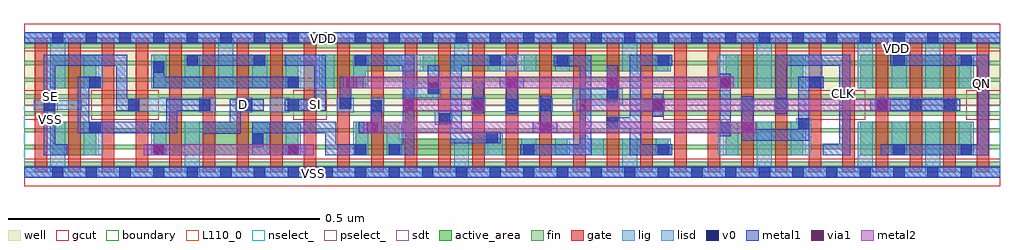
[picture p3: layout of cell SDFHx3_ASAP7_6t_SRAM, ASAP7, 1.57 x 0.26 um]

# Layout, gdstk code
import gdstk
lib = gdstk.Library(unit=1e-6, precision=2.5e-10)
def R(c, l, rs):  # rectangles x0, y0, x1, y1
    for r in rs: c.add(gdstk.rectangle(r[:2], r[2:], *l))
def A(c, l, x, y, w, h, nx, ny, dx, dy):  # array of equal rectangles
    R(c, l, [(x+i*dx, y+j*dy, x+i*dx+w, y+j*dy+h) for i in range(nx) for j in range(ny)])
def P(c, l, *ps):  # polygons
    for p in ps: c.add(gdstk.Polygon(p, *l))
well = (1, 0)
fin = (2, 0)
gate = (7, 0)
gcut = (10, 0)
active_area = (11, 0)
nselect_ = (12, 0)
pselect_ = (13, 0)
lig = (16, 0)
lisd = (17, 0)
v0 = (18, 0)
metal1 = (19, 0)
metal2 = (20, 0)
via1 = (21, 0)
sdt = (88, 0)
boundary = (100, 0)
L110_0 = (110, 0)

sdfhx3_asap7_6t_sram = lib.new_cell('SDFHx3_ASAP7_6t_SRAM')
R(sdfhx3_asap7_6t_sram, well, [(0,0.108,1.566,0.216)])
A(sdfhx3_asap7_6t_sram, fin, 0, 0.01, 1.566, 0.007, 1, 8, 0, 0.027)
A(sdfhx3_asap7_6t_sram, gate, 0.017, 0, 0.02, 0.216, 29, 1, 0.054, 0)
R(sdfhx3_asap7_6t_sram, gcut, [(0,-0.022,1.566,0.022), (0,0.084,0.054,0.132), (0.108,0.084,0.216,0.132), (0.432,0.084,0.486,0.132), (1.026,0.084,1.134,0.132), (1.242,0.084,1.35,0.132), (1.512,0.084,1.566,0.132), (0,0.194,1.566,0.238)])
R(sdfhx3_asap7_6t_sram, active_area, [(0.046,0.027,0.116,0.081), (0.208,0.027,0.44,0.081), (0.91,0.027,1.034,0.054), (1.126,0.027,1.25,0.081), (1.342,0.027,1.52,0.081), (0.046,0.135,0.116,0.189), (0.208,0.135,0.44,0.189), (1.126,0.135,1.25,0.189), (1.342,0.135,1.52,0.189), (0.64,0.162,0.764,0.189), (0.802,0.162,1.034,0.189)])
P(sdfhx3_asap7_6t_sram, active_area, [(0.872,0.054),(0.602,0.054),(0.602,0.081),(0.532,0.081),(0.532,0.027),(0.872,0.027)],
  [(0.602,0.189),(0.478,0.189),(0.478,0.135),(0.548,0.135),(0.548,0.162),(0.602,0.162)])
R(sdfhx3_asap7_6t_sram, nselect_, [(0,0,1.566,0.108)])
R(sdfhx3_asap7_6t_sram, pselect_, [(0,0.108,1.566,0.216)])
R(sdfhx3_asap7_6t_sram, lig, [(0,-0.008,1.566,0.008), (0.934,0.069,0.956,0.089), (0.659,0.076,0.687,0.099), (0.772,0.092,0.794,0.118), (0.281,0.096,0.308,0.12), (0.34,0.096,0.366,0.12), (0.502,0.096,0.529,0.12), (0.556,0.096,0.578,0.12), (0.826,0.097,0.848,0.119), (0.88,0.097,0.902,0.119), (1.15,0.097,1.172,0.119), (1.204,0.097,1.226,0.12), (0.718,0.098,0.74,0.121), (0.988,0.098,1.028,0.118), (1.365,0.098,1.497,0.12), (0.016,0.1,0.093,0.116), (0.61,0.124,0.632,0.144), (0,0.208,1.566,0.224)])
P(sdfhx3_asap7_6t_sram, lig, [(0.47,0.117),(0.426,0.117),(0.426,0.12),(0.394,0.12),(0.394,0.096),(0.426,0.096),(0.426,0.099),(0.47,0.099)],
  [(0.254,0.12),(0.216,0.12),(0.216,0.118),(0.167,0.118),(0.167,0.098),(0.216,0.098),(0.216,0.096),(0.254,0.096)])
R(sdfhx3_asap7_6t_sram, lisd, [(0.042,0,0.066,0.081), (0.258,0,0.282,0.081), (0.69,0,0.714,0.054), (0.96,0,0.984,0.054), (1.176,0,1.2,0.081), (1.338,0,1.362,0.081), (1.446,0,1.47,0.081), (0.096,0.027,0.126,0.081), (0.204,0.027,0.228,0.081), (0.366,0.027,0.394,0.081), (0.42,0.027,0.444,0.081), (0.528,0.027,0.552,0.081), (0.582,0.027,0.606,0.081), (0.739,0.027,0.768,0.065), (0.798,0.027,0.822,0.054), (0.852,0.027,0.93,0.054), (1.014,0.027,1.038,0.054), (1.113,0.027,1.146,0.081), (1.23,0.027,1.263,0.081), (1.392,0.027,1.416,0.081), (1.5,0.027,1.524,0.081), (1.239,0.081,1.263,0.087), (0.88,0.108,0.961,0.134), (0.61,0.12,0.669,0.144), (0.042,0.135,0.066,0.216), (0.096,0.135,0.126,0.189), (0.204,0.135,0.228,0.189), (0.258,0.135,0.282,0.189), (0.312,0.135,0.336,0.216), (0.366,0.135,0.39,0.189), (0.42,0.135,0.498,0.189), (0.528,0.135,0.552,0.189), (1.113,0.135,1.146,0.189), (1.176,0.135,1.2,0.216), (1.23,0.135,1.281,0.189), (1.338,0.135,1.362,0.216), (1.392,0.135,1.416,0.189), (1.446,0.135,1.47,0.216), (1.5,0.135,1.524,0.189), (0.582,0.162,0.66,0.189), (0.69,0.162,0.714,0.216), (0.744,0.162,0.822,0.189), (0.852,0.162,0.876,0.189), (0.96,0.162,0.984,0.216), (1.014,0.162,1.038,0.189)])
A(sdfhx3_asap7_6t_sram, v0, 0.045, -0.009, 0.018, 0.018, 28, 2, 0.054, 0.216)
A(sdfhx3_asap7_6t_sram, v0, 0.585, 0.027, 0.018, 0.018, 3, 1, 0.216, 0)
A(sdfhx3_asap7_6t_sram, v0, 1.368, 0.099, 0.018, 0.018, 3, 1, 0.054, 0)
R(sdfhx3_asap7_6t_sram, v0, [(0.207,0.027,0.225,0.045), (0.423,0.027,0.441,0.045), (0.531,0.027,0.549,0.045), (1.395,0.027,1.413,0.045), (1.503,0.027,1.521,0.045), (0.366,0.045,0.384,0.063), (0.742,0.047,0.76,0.065), (0.105,0.063,0.123,0.081), (1.116,0.063,1.134,0.081), (1.242,0.069,1.26,0.087), (0.935,0.07,0.953,0.088), (0.666,0.077,0.684,0.095), (0.556,0.098,0.574,0.116), (0.032,0.099,0.05,0.117), (0.167,0.099,0.185,0.117), (0.281,0.099,0.299,0.117), (0.348,0.099,0.366,0.117), (0.423,0.099,0.441,0.117), (0.774,0.099,0.792,0.117), (0.828,0.099,0.846,0.117), (1.008,0.099,1.026,0.117), (1.152,0.099,1.17,0.117), (0.72,0.101,0.738,0.119), (0.507,0.102,0.525,0.12), (1.206,0.102,1.224,0.12), (0.935,0.113,0.953,0.131), (0.648,0.126,0.666,0.144), (0.105,0.135,0.123,0.153), (0.423,0.135,0.441,0.153), (1.116,0.135,1.134,0.153), (1.26,0.135,1.278,0.153), (0.207,0.16,0.225,0.178), (0.855,0.17,0.873,0.188), (0.261,0.171,0.279,0.189), (0.369,0.171,0.387,0.189), (0.531,0.171,0.549,0.189), (0.747,0.171,0.765,0.189), (1.017,0.171,1.035,0.189), (1.395,0.171,1.413,0.189), (1.503,0.171,1.521,0.189)])
R(sdfhx3_asap7_6t_sram, metal1, [(0,-0.009,1.566,0.009), (0.198,0.027,0.235,0.045), (0.415,0.027,0.452,0.045), (1.116,0.058,1.134,0.158), (1.008,0.089,1.026,0.126), (0.72,0.095,0.738,0.144), (1.358,0.099,1.502,0.117), (0.935,0.113,0.953,0.172), (0.648,0.126,0.666,0.172), (0.261,0.171,0.387,0.189), (0,0.207,1.566,0.225)])
P(sdfhx3_asap7_6t_sram, metal1, [(1.548,0.189),(1.39,0.189),(1.39,0.171),(1.53,0.171),(1.53,0.045),(1.375,0.045),(1.375,0.027),(1.548,0.027)],
  [(0.91,0.188),(0.85,0.188),(0.85,0.17),(0.892,0.17),(0.892,0.045),(0.796,0.045),(0.796,0.027),(0.91,0.027)],
  [(0.802,0.153),(0.763,0.153),(0.763,0.135),(0.774,0.135),(0.774,0.094),(0.792,0.094),(0.792,0.135),(0.802,0.135)],
  [(0.79,0.189),(0.684,0.189),(0.684,0.095),(0.666,0.095),(0.666,0.077),(0.684,0.077),(0.684,0.047),(0.765,0.047),(0.765,0.065),(0.702,0.065),(0.702,0.171),(0.79,0.171)],
  [(0.626,0.189),(0.531,0.189),(0.531,0.171),(0.608,0.171),(0.608,0.045),(0.585,0.045),(0.585,0.027),(0.626,0.027)],
  [(0.574,0.116),(0.556,0.116),(0.556,0.081),(0.537,0.081),(0.537,0.063),(0.574,0.063)],
  [(0.856,0.081),(0.846,0.081),(0.846,0.123),(0.828,0.123),(0.828,0.081),(0.816,0.081),(0.816,0.063),(0.856,0.063)],
  [(0.549,0.045),(0.501,0.045),(0.501,0.081),(0.366,0.081),(0.366,0.04),(0.384,0.04),(0.384,0.063),(0.483,0.063),(0.483,0.027),(0.549,0.027)],
  [(0.544,0.153),(0.507,0.153),(0.507,0.102),(0.525,0.102),(0.525,0.135),(0.544,0.135)],
  [(0.484,0.189),(0.418,0.189),(0.418,0.171),(0.466,0.171),(0.466,0.117),(0.418,0.117),(0.418,0.099),(0.484,0.099)],
  [(0.441,0.153),(0.225,0.153),(0.225,0.178),(0.207,0.178),(0.207,0.135),(0.441,0.135)],
  [(0.299,0.117),(0.228,0.117),(0.228,0.081),(0.105,0.081),(0.105,0.135),(0.123,0.135),(0.123,0.153),(0.086,0.153),(0.086,0.063),(0.246,0.063),(0.246,0.099),(0.299,0.099)],
  [(1.04,0.045),(0.99,0.045),(0.99,0.171),(1.04,0.171),(1.04,0.189),(0.972,0.189),(0.972,0.088),(0.935,0.088),(0.935,0.07),(0.972,0.07),(0.972,0.027),(1.04,0.027)],
  [(0.185,0.117),(0.166,0.117),(0.166,0.189),(0.032,0.189),(0.032,0.027),(0.069,0.027),(0.069,0.045),(0.05,0.045),(0.05,0.171),(0.148,0.171),(0.148,0.099),(0.185,0.099)],
  [(1.283,0.153),(1.242,0.153),(1.242,0.069),(1.17,0.069),(1.17,0.122),(1.152,0.122),(1.152,0.051),(1.26,0.051),(1.26,0.135),(1.283,0.135)],
  [(1.326,0.189),(1.206,0.189),(1.206,0.094),(1.224,0.094),(1.224,0.171),(1.308,0.171),(1.308,0.046),(1.282,0.046),(1.282,0.027),(1.326,0.027)],
  [(0.385,0.117),(0.33,0.117),(0.33,0.081),(0.287,0.081),(0.287,0.062),(0.348,0.062),(0.348,0.099),(0.385,0.099)])
R(sdfhx3_asap7_6t_sram, metal2, [(0.192,0.027,0.465,0.045), (0.545,0.063,1.175,0.081), (0.608,0.099,0.738,0.117), (0.887,0.099,1.391,0.117), (0.512,0.135,1.139,0.153)])
R(sdfhx3_asap7_6t_sram, via1, [(0.207,0.027,0.225,0.045), (0.423,0.027,0.441,0.045), (0.55,0.063,0.568,0.081), (0.828,0.063,0.846,0.081), (1.152,0.063,1.17,0.081), (0.608,0.099,0.626,0.117), (0.72,0.099,0.738,0.117), (0.892,0.099,0.91,0.117), (1.008,0.099,1.026,0.117), (1.368,0.099,1.386,0.117), (0.517,0.135,0.535,0.153), (0.648,0.135,0.666,0.153), (0.774,0.135,0.792,0.153), (0.935,0.135,0.953,0.153), (1.116,0.135,1.134,0.153)])
A(sdfhx3_asap7_6t_sram, sdt, 0.69, 0.027, 0.024, 0.027, 7, 1, 0.054, 0)
A(sdfhx3_asap7_6t_sram, sdt, 1.122, 0.027, 0.024, 0.054, 3, 2, 0.054, 0.108)
A(sdfhx3_asap7_6t_sram, sdt, 1.338, 0.027, 0.024, 0.054, 4, 2, 0.054, 0.108)
A(sdfhx3_asap7_6t_sram, sdt, 0.204, 0.135, 0.024, 0.054, 7, 1, 0.054, 0)
A(sdfhx3_asap7_6t_sram, sdt, 0.582, 0.162, 0.024, 0.027, 6, 1, 0.054, 0)
R(sdfhx3_asap7_6t_sram, sdt, [(0.042,0.027,0.066,0.081), (0.096,0.027,0.12,0.081), (0.204,0.027,0.228,0.081), (0.258,0.027,0.282,0.081), (0.366,0.027,0.39,0.081), (0.42,0.027,0.444,0.081), (0.528,0.027,0.552,0.081), (0.582,0.027,0.606,0.081), (0.042,0.135,0.066,0.189), (0.096,0.135,0.12,0.189), (0.96,0.162,0.984,0.189), (1.014,0.162,1.038,0.189)])
R(sdfhx3_asap7_6t_sram, boundary, [(0,0,1.566,0.216)])
R(sdfhx3_asap7_6t_sram, L110_0, [(0,0,1.566,0.216)])
sdfhx3_asap7_6t_sram.add(gdstk.Label('VDD', (1.4,0.198), layer=1, texttype=251))
sdfhx3_asap7_6t_sram.add(gdstk.Label('CLK', (1.315,0.126), layer=19, texttype=251))
sdfhx3_asap7_6t_sram.add(gdstk.Label('SI', (0.467,0.109), layer=19, texttype=251))
sdfhx3_asap7_6t_sram.add(gdstk.Label('VSS', (0.464,-0.002), layer=19, texttype=251))
sdfhx3_asap7_6t_sram.add(gdstk.Label('VDD', (0.48,0.214), layer=19, texttype=251))
sdfhx3_asap7_6t_sram.add(gdstk.Label('QN', (1.537,0.143), layer=19, texttype=251))
sdfhx3_asap7_6t_sram.add(gdstk.Label('SE', (0.043,0.121), layer=19, texttype=251))
sdfhx3_asap7_6t_sram.add(gdstk.Label('D', (0.352,0.109), layer=19, texttype=251))
sdfhx3_asap7_6t_sram.add(gdstk.Label('VSS', (0.043,0.085), layer=3, texttype=251))

lib.write_gds('SDFHx3_ASAP7_6t_SRAM.gds')
